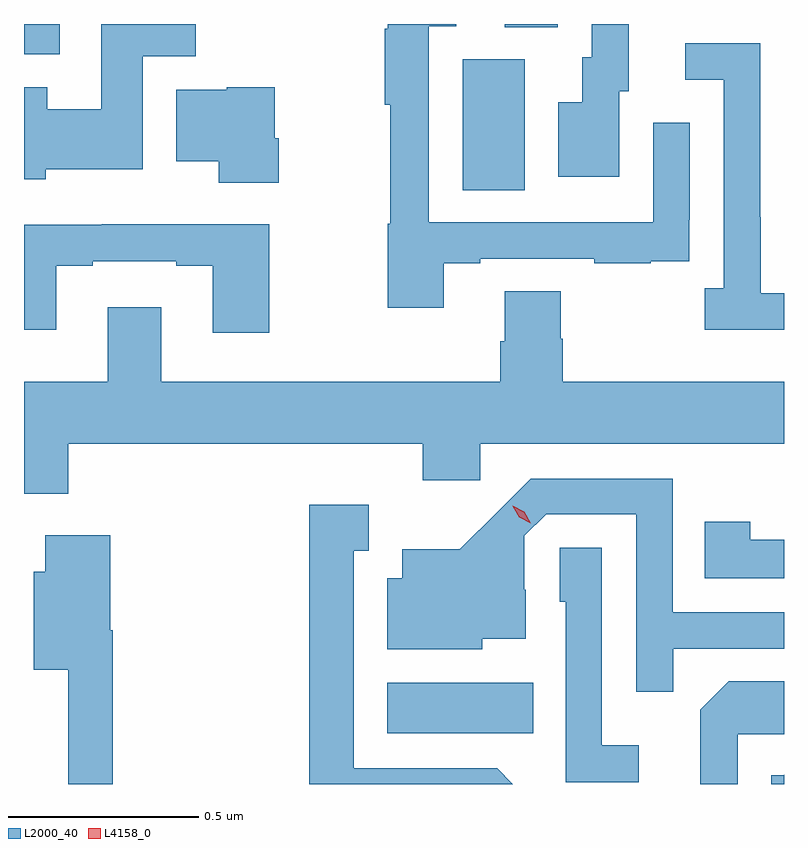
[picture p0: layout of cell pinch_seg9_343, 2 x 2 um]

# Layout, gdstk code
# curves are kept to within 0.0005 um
import gdstk
lib = gdstk.Library(unit=1e-6, precision=1e-09)
def R(c, l, rs):  # rectangles x0, y0, x1, y1
    for r in rs: c.add(gdstk.rectangle(r[:2], r[2:], *l))
def P(c, l, *ps):  # polygons
    for p in ps: c.add(gdstk.Polygon(p, *l))
L2000_40 = (2000, 40)
L4158_0 = (4158, 0)

pinch_seg9_343 = lib.new_cell('pinch_seg9_343')
R(pinch_seg9_343, L2000_40, [(615.56,1182.338,615.944,1182.472), (615.758,1183.768,615.922,1184.112), (614.604,1184.126,614.698,1184.205), (615.869,1184.197,616.009,1184.205)])
P(pinch_seg9_343, L2000_40, [(614.661,1183.823),(614.917,1183.823),(614.917,1184.12),(615.056,1184.12),(615.056,1184.205),(614.807,1184.205),(614.807,1183.981),(614.665,1183.981),(614.665,1184.038),(614.604,1184.038),(614.604,1183.796),(614.661,1183.796)],
  [(615.709,1183.575),(615.805,1183.575),(615.805,1183.587),(616.105,1183.587),(616.105,1183.575),(616.253,1183.575),(616.253,1183.581),(616.355,1183.581),(616.355,1183.69),(616.356,1183.69),(616.356,1183.945),(616.26,1183.945),(616.26,1183.683),(615.669,1183.683),(615.669,1184.199),(615.742,1184.199),(615.742,1184.205),(615.561,1184.205),(615.561,1184.192),(615.553,1184.192),(615.553,1183.992),(615.568,1183.992),(615.568,1183.68),(615.561,1183.68),(615.561,1183.458),(615.709,1183.458)],
  [(616.171,1184.028),(616.195,1184.028),(616.195,1184.205),(616.098,1184.205),(616.098,1184.118),(616.073,1184.118),(616.073,1183.999),(616.01,1183.999),(616.01,1183.803),(616.171,1183.803)],
  [(616.604,1183.497),(616.543,1183.497),(616.543,1183.697),(616.542,1183.697),(616.542,1184.154),(616.344,1184.154),(616.344,1184.058),(616.446,1184.058),(616.446,1183.51),(616.395,1183.51),(616.395,1183.4),(616.604,1183.4)],
  [(615.274,1183.905),(615.264,1183.905),(615.264,1184.038),(615.138,1184.038),(615.138,1184.032),(615.005,1184.032),(615.005,1183.844),(615.116,1183.844),(615.116,1183.787),(615.274,1183.787)],
  [(615.249,1183.678),(614.808,1183.678),(614.808,1183.677),(614.604,1183.677),(614.604,1183.4),(614.689,1183.4),(614.689,1183.569),(614.785,1183.569),(614.785,1183.581),(615.005,1183.581),(615.005,1183.569),(615.101,1183.569),(615.101,1183.392),(615.249,1183.392)],
  [(614.72,1183.1),(615.653,1183.1),(615.653,1183.005),(615.804,1183.005),(615.804,1183.1),(616.604,1183.1),(616.604,1183.264),(616.022,1183.264),(616.022,1183.377),(616.017,1183.377),(616.017,1183.502),(615.869,1183.502),(615.869,1183.37),(615.857,1183.37),(615.857,1183.264),(614.965,1183.264),(614.965,1183.459),(614.825,1183.459),(614.825,1183.264),(614.604,1183.264),(614.604,1182.969),(614.72,1182.969)],
  [(616.313,1182.561),(616.604,1182.561),(616.604,1182.657),(616.311,1182.657),(616.311,1183.008),(615.938,1183.008),(615.751,1182.823),(615.599,1182.823),(615.599,1182.747),(615.56,1182.747),(615.56,1182.56),(615.81,1182.56),(615.81,1182.587),(615.925,1182.587),(615.925,1182.716),(615.921,1182.716),(615.921,1182.858),(615.978,1182.915),(616.215,1182.915),(616.215,1182.448),(616.313,1182.448)],
  [(615.849,1182.246),(615.472,1182.246),(615.472,1182.819),(615.511,1182.819),(615.511,1182.94),(615.354,1182.94),(615.354,1182.205),(615.89,1182.205)],
  [(616.604,1182.848),(616.515,1182.848),(616.515,1182.895),(616.396,1182.895),(616.396,1182.747),(616.604,1182.747)],
  [(614.837,1182.61),(614.831,1182.61),(614.831,1182.859),(614.66,1182.859),(614.66,1182.763),(614.63,1182.763),(614.63,1182.506),(614.72,1182.506),(614.72,1182.205),(614.837,1182.205)],
  [(616.222,1182.307),(616.125,1182.307),(616.125,1182.827),(616.014,1182.827),(616.014,1182.684),(616.029,1182.684),(616.029,1182.21),(616.222,1182.21)],
  [(616.482,1182.336),(616.604,1182.336),(616.604,1182.476),(616.459,1182.476),(616.383,1182.4),(616.383,1182.205),(616.482,1182.205)],
  [(616.604,1182.23),(616.602,1182.228),(616.571,1182.228),(616.571,1182.205),(616.604,1182.205)])
P(pinch_seg9_343, L4158_0, [(615.937,1182.891),(615.907,1182.907),(615.89,1182.936),(615.89,1182.937),(615.89,1182.937),(615.921,1182.921),(615.938,1182.891),(615.938,1182.891)])

lib.write_gds('pinch_seg9_343.gds')
